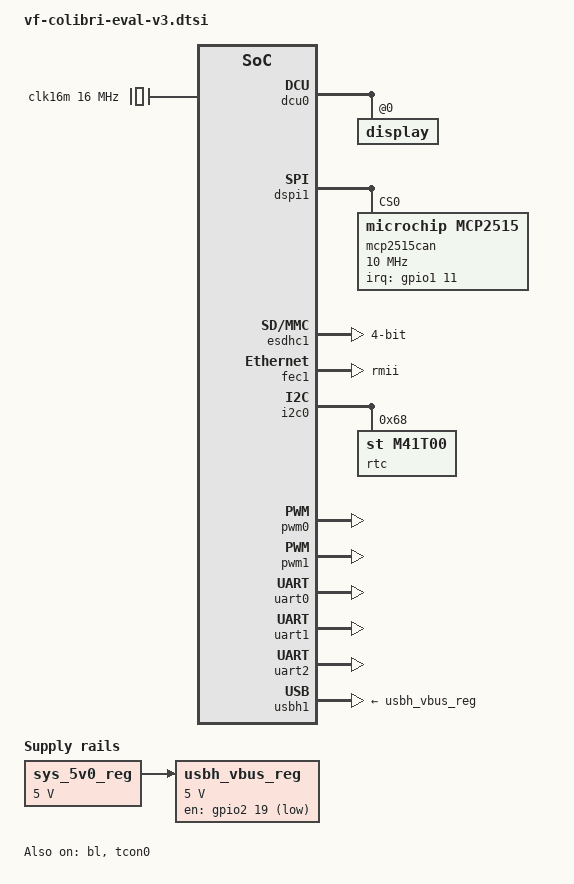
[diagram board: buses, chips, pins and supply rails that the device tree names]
/*
 * Copyright 2014 Toradex AG
 *
 * This program is free software; you can redistribute it and/or modify
 * it under the terms of the GNU General Public License as published by
 * the Free Software Foundation; either version 2 of the License, or
 * (at your option) any later version.
 */

/ {
	chosen {
		bootargs = "console=ttyLP0,115200";
	};

	clk16m: clk16m {
		compatible = "fixed-clock";
		#clock-cells = <0>;
		clock-frequency = <16000000>;
	};

	regulators {
		compatible = "simple-bus";
		#address-cells = <1>;
		#size-cells = <0>;

		sys_5v0_reg: regulator@0 {
			compatible = "regulator-fixed";
			reg = <0>;
			regulator-name = "5v0";
			regulator-min-microvolt = <5000000>;
			regulator-max-microvolt = <5000000>;
			regulator-always-on;
		};

		/* USBH_PEN */
		usbh_vbus_reg: regulator@1 {
			compatible = "regulator-fixed";
			pinctrl-names = "default";
			pinctrl-0 = <&pinctrl_usbh1_reg>;
			reg = <1>;
			regulator-name = "usbh_vbus";
			regulator-min-microvolt = <5000000>;
			regulator-max-microvolt = <5000000>;
			gpio = <&gpio2 19 GPIO_ACTIVE_LOW>;
			vin-supply = <&sys_5v0_reg>;
		};
	};
};

&bl {
	brightness-levels = <0 4 8 16 32 64 128 255>;
	default-brightness-level = <6>;
	status  = "okay";
};

&dcu0 {
	pinctrl-names = "default";
	pinctrl-0 = <&pinctrl_dcu0_1>;
	display = <&display>;
	status = "okay";

	display: display@0 {
		bits-per-pixel = <16>;

		display-timings {
			native-mode = <&timing_vga>;
			/* Standard VGA timing */
			timing_vga: 640x480 {
				clock-frequency = <25175000>;
				hactive = <640>;
				vactive = <480>;
				hback-porch = <40>;
				hfront-porch = <24>;
				vback-porch = <32>;
				vfront-porch = <11>;
				hsync-len = <96>;
				vsync-len = <2>;
				hsync-active = <0>;
				vsync-active = <0>;
				pixelclk-active = <0>;
			};
			/* WVGA Timing, e.g. EDT ET070080DH6 */
			timing_wvga: 800x480 {
				clock-frequency = <33260000>;
				hactive = <800>;
				vactive = <480>;
				hback-porch = <216>;
				hfront-porch = <40>;
				vback-porch = <35>;
				vfront-porch = <10>;
				hsync-len = <128>;
				vsync-len = <2>;
				hsync-active = <0>;
				vsync-active = <0>;
				pixelclk-active = <0>;
			};
			/* WVGA Timing, TouchRevolution Fusion 7" */
			timing_wvga2: 800x480pixclkact {
				clock-frequency = <33260000>;
				hactive = <800>;
				vactive = <480>;
				hback-porch = <216>;
				hfront-porch = <40>;
				vback-porch = <35>;
				vfront-porch = <10>;
				hsync-len = <128>;
				vsync-len = <2>;
				hsync-active = <0>;
				vsync-active = <0>;
				pixelclk-active = <1>;
			};
			/* Standard SVGA timing */
			timing_svga: 800x600 {
				clock-frequency = <40000000>;
				hactive = <800>;
				vactive = <600>;
				hback-porch = <88>;
				hfront-porch = <40>;
				vback-porch = <23>;
				vfront-porch = <1>;
				hsync-len = <128>;
				vsync-len = <4>;
				hsync-active = <1>;
				vsync-active = <1>;
				pixelclk-active = <0>;
			};
			/* TouchRevolution Fusion 10"/CLAA101NC05 10.1 inch */
			timing_wsvga: 1024x600 {
				clock-frequency = <48000000>;
				hactive = <1024>;
				vactive = <600>;
				hback-porch = <104>;
				hfront-porch = <43>;
				vback-porch = <24>;
				vfront-porch = <20>;
				hsync-len = <5>;
				vsync-len = <5>;
				hsync-active = <0>;
				vsync-active = <0>;
				pixelclk-active = <0>;
			};
			/* Standard XGA timing */
			timing_xga: 1024x768 {
				clock-frequency = <65000000>;
				hactive = <1024>;
				vactive = <768>;
				hback-porch = <160>;
				hfront-porch = <24>;
				vback-porch = <29>;
				vfront-porch = <3>;
				hsync-len = <136>;
				vsync-len = <6>;
				hsync-active = <0>;
				vsync-active = <0>;
				pixelclk-active = <0>;
			};
		};
	};
};

&dspi1 {
	status = "okay";

	mcp2515can: can@0 {
		compatible = "microchip,mcp2515";
		pinctrl-names = "default";
		pinctrl-0 = <&pinctrl_can_int>;
		reg = <0>;
		clocks = <&clk16m>;
		spi-max-frequency = <10000000>;
		interrupt-parent = <&gpio1>;
		interrupts = <11 GPIO_ACTIVE_LOW>;
	};
};

&esdhc1 {
	pinctrl-names = "default";
	pinctrl-0 = <&pinctrl_esdhc1>;
	bus-width = <4>;
	status = "okay";
};

&fec1 {
	phy-mode = "rmii";
	pinctrl-names = "default";
	pinctrl-0 = <&pinctrl_fec1>;
	status = "okay";
};

&i2c0 {
	status = "okay";

	/* M41T0M6 real time clock on carrier board */
	rtc: m41t0m6@68 {
		compatible = "st,m41t00";
		reg = <0x68>;
	};
};

&pwm0 {
	status = "okay";
};

&pwm1 {
	status = "okay";
};

&tcon0 {
	status = "okay";
};

&uart0 {
	status = "okay";
};

&uart1 {
	status = "okay";
};

&uart2 {
	status = "okay";
};

&usbh1 {
	vbus-supply = <&usbh_vbus_reg>;
};

&iomuxc {
	vf610-colibri {
		pinctrl_can_int: can_int {
			fsl,pins = <
				VF610_PAD_PTB21__GPIO_43	0x22ed
			>;
		};
	};
};
